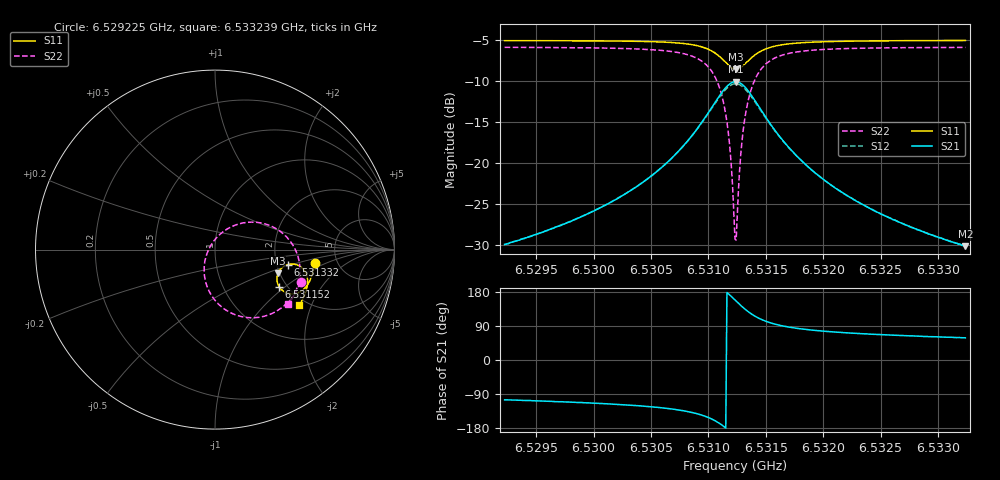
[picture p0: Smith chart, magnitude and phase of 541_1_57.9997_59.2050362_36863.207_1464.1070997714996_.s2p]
#  HZ  S  RI  R  50.00
! Rohde & Schwarz Vector Network Analyzer
! Rohde-Schwarz,ZNB20-2Port,1311601062101988,3.16
! Created: UTC 3/21/2024, 1:14:35 AM
! freq[Hz]  re:S11  im:S11  re:S21  im:S21  re:S12  im:S12  re:S22  im:S22
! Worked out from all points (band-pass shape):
!   401 points, 6.529225 GHz to 6.533239 GHz, reference 50 ohm
!   highest |S21| = -10.04 dB at 6.531242 GHz (marker M1); lowest = -30.2 dB at 6.533239 GHz (marker M2)
!   |S21| within 3 dB of the highest: 6.531037 GHz to 6.531438 GHz (400.6 kHz wide, 0.00613 % of centre)
!   lowest |S11| = -8.5 dB at 6.531242 GHz (marker M3), VSWR 2.20, Z = 97.8 - j30.3 ohm
!   |S11| at or under -10 dB: nowhere
!   |S22| runs from -29.4 to -5.8 dB; largest |S21 - S12| = 0.012
!   S11 on the Smith chart (normalised r, x): 6.529225 GHz: 3.37, -0.74; 6.531152 GHz: 1.82, -0.91; 6.531332 GHz: 2.29, -0.46; 6.533239 GHz: 1.82, -1.64
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6.5292248e9  0.5555 -0.0751  -0.00829 -0.0307  -0.00881 -0.0306  0.4774 -0.1811
6.5298972e9  0.544 -0.1311  -0.0179 -0.0436  -0.019 -0.0432  0.4454 -0.2431
6.5302886e9  0.5311 -0.1676  -0.0315 -0.0576  -0.0329 -0.0569  0.4101 -0.2889
6.5305695e9  0.5144 -0.1981  -0.0528 -0.0743  -0.0547 -0.0727  0.3623 -0.3307
6.5308104e9  0.4848 -0.2286  -0.0957 -0.0942  -0.0984 -0.0909  0.2757 -0.3709
6.530981e9  0.4385 -0.2463  -0.1674 -0.0985  -0.1695 -0.0915  0.1445 -0.3726
6.5310813e9  0.3918 -0.238  -0.2392 -0.0673  -0.2378 -0.0574  0.0246 -0.3085
6.5311516e9  0.3572 -0.2065  -0.2894 -0.00277  -0.2826 0.00702  -0.0487 -0.192
6.5311817e9  0.3477 -0.1845  -0.3008 0.0384  -0.2916 0.0468  -0.0607 -0.1219
6.5312218e9  0.3459 -0.1502  -0.2975 0.1001  -0.2861 0.1049  -0.0444 -0.0213
6.5312319e9  0.3478 -0.1415  -0.2925 0.1157  -0.2812 0.1191  -0.0341 0.00296
6.5312419e9  0.3506 -0.133  -0.2865 0.1304  -0.2749 0.133  -0.0215 0.0261
6.5312519e9  0.3542 -0.1247  -0.2788 0.1446  -0.2674 0.1461  -0.00668 0.0477
6.5312921e9  0.3763 -0.0982  -0.2368 0.1904  -0.2271 0.1885  0.0694 0.1157
6.5313322e9  0.4041 -0.0836  -0.1865 0.2151  -0.1792 0.2117  0.1564 0.1486
6.5314025e9  0.4493 -0.0829  -0.1074 0.2182  -0.1039 0.2147  0.2884 0.1401
6.5315028e9  0.4891 -0.1063  -0.0392 0.1851  -0.0375 0.1832  0.3995 0.07
6.5316534e9  0.5112 -0.1434  0.00103 0.1361  0.00218 0.1355  0.4588 -0.0282
6.5319042e9  0.516 -0.1875  0.0175 0.0885  0.0185 0.0882  0.4732 -0.1279
6.5322053e9  0.5093 -0.2238  0.0199 0.0602  0.021 0.06  0.4627 -0.194
6.5325766e9  0.497 -0.2581  0.0188 0.0422  0.0195 0.042  0.444 -0.245
6.5332389e9  0.4707 -0.3079  0.0162 0.0265  0.0167 0.0262  0.4094 -0.3044
